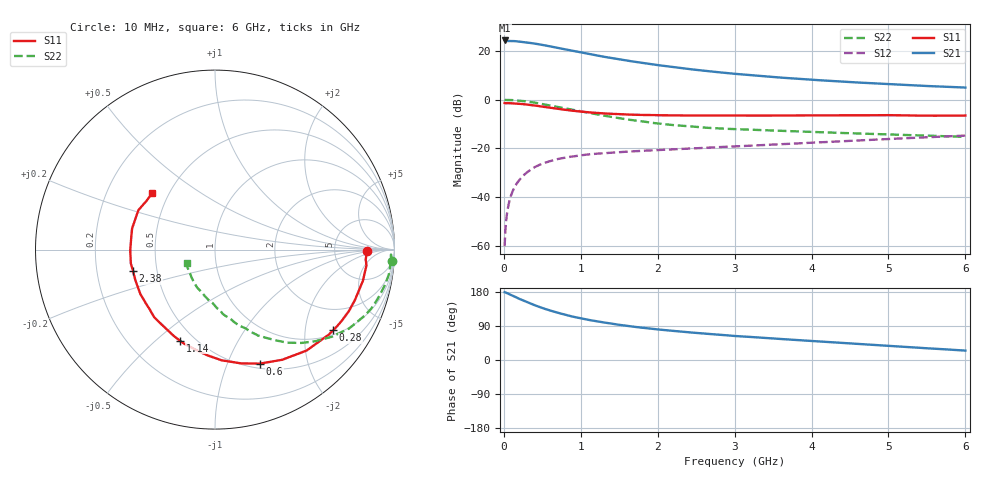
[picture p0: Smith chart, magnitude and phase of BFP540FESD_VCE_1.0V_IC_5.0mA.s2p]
! Infineon Technologies  Discrete & RF Semiconductors
! BFP540FESD
! VCE =  1.0 V,  IC =  5.0 mA
! Common Emitter S-Parameters:  Nov 2015
# GHz  S  MA  R  50
!  f  S11  S21  S12  S22
! GHz  MAG  ANG  MAG  ANG  MAG  ANG  MAG  ANG
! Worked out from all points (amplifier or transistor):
!   210 points, 10 MHz to 6 GHz, reference 50 ohm
!   highest |S21| = 24.2 dB at 10 MHz (marker M1)
!   |S21| within 3 dB of that: start of sweep to 695.8 MHz
!   unconditionally stable (mu >= 1): 2.704 GHz to end of sweep
!   at 185 MHz: K = 0.07, MSG = 28.7 dB, |S12| = -33.6 dB
!   at 1.52 GHz: K = 0.64, MSG = 18.9 dB, |S12| = -21.5 dB
!   at 6 GHz: K = 1.30, MAG = 6.5 dB, |S12| = -14.7 dB
!   S11 on the Smith chart (normalised r, x): 10 MHz: 12, -1; 280 MHz: 1.15, -2.82; 600 MHz: 0.55, -1.32; 1.14 GHz: 0.42, -0.60; 2.38 GHz: 0.36, -0.11; 6 GHz: 0.41, +0.33
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0.01  0.8475 -0.5  16.22 178.9  0.001 97.0  0.9862 -3.6
0.02  0.8414 -3.8  15.84 178.4  0.0021 94.9  0.9811 -1.6
0.08  0.8434 -9.5  15.81 172.8  0.0093 87.3  0.9793 -6.6
0.15  0.8301 -19.2  15.72 166.4  0.0174 81.9  0.966 -12.1
0.2  0.8209 -24.7  15.4 161.5  0.0224 78.0  0.9502 -16.0
0.28  0.7968 -34.3  14.92 154.6  0.0304 72.4  0.9213 -22.1
0.4  0.7593 -47.8  14.02 144.7  0.0414 65.8  0.8667 -30.5
0.5  0.7191 -58.6  13.21 137.1  0.0489 61.2  0.8115 -36.8
0.6  0.6827 -68.5  12.26 130.4  0.0549 57.6  0.7578 -42.3
0.8  0.6182 -86.5  10.65 119.1  0.0652 50.4  0.6568 -52.1
0.9  0.5904 -94.2  9.887 114.2  0.0687 47.8  0.6121 -55.9
1.02  0.5637 -102.6  9.085 109.2  0.073 45.8  0.5649 -60.2
1.14  0.5434 -111.1  8.366 104.5  0.0766 43.6  0.5218 -64.5
1.3  0.5214 -120.3  7.527 99.1  0.0799 41.5  0.4699 -68.9
1.5  0.5067 -132.0  6.654 92.8  0.0841 39.6  0.4175 -75.2
1.72  0.488 -142.2  5.88 87.0  0.088 38.0  0.3707 -81.5
2.02  0.4782 -154.2  5.036 80.3  0.0929 36.7  0.323 -88.6
2.38  0.4718 -165.3  4.261 73.5  0.0986 36.0  0.2876 -96.0
3.1  0.4714 178.8  3.271 62.2  0.1119 35.2  0.2449 -109.3
4.1  0.476 164.4  2.491 48.8  0.1336 34.1  0.2152 -123.5
5.1  0.4771 151.2  2.04 36.0  0.1587 30.1  0.1905 -137.9
6  0.4707 137.9  1.763 24.8  0.1832 25.9  0.1723 -155.3
